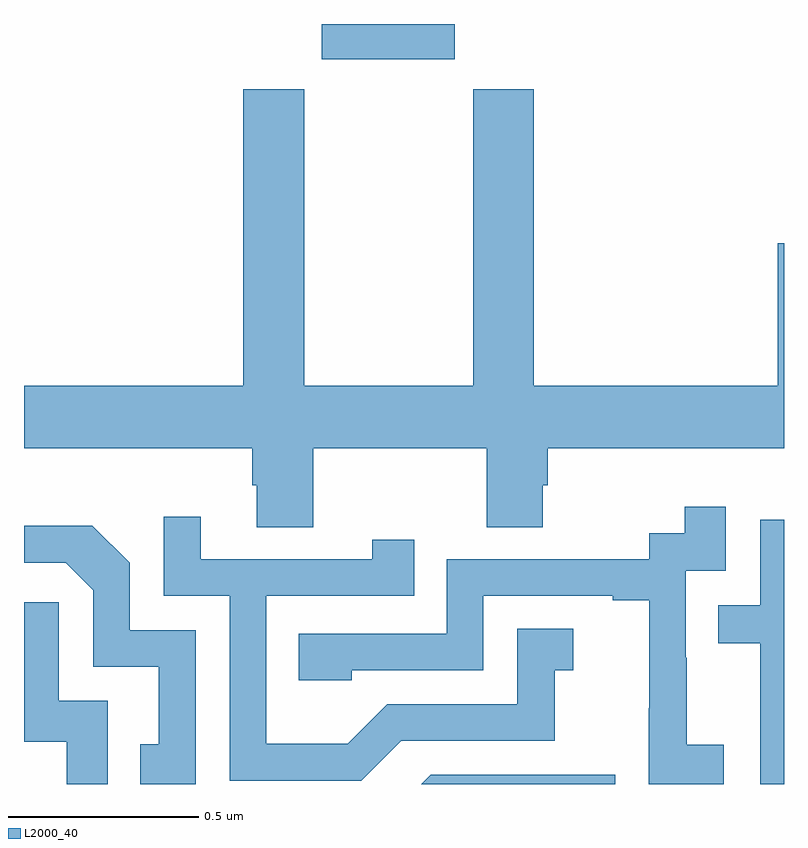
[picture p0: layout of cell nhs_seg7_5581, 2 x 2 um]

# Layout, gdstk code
import gdstk
lib = gdstk.Library(unit=1e-6, precision=1e-09)
def R(c, l, rs):  # rectangles x0, y0, x1, y1
    for r in rs: c.add(gdstk.rectangle(r[:2], r[2:], *l))
def P(c, l, *ps):  # polygons
    for p in ps: c.add(gdstk.Polygon(p, *l))
L2000_40 = (2000, 40)

nhs_seg7_5581 = lib.new_cell('nhs_seg7_5581')
R(nhs_seg7_5581, L2000_40, [(187.784,1066.907,188.134,1067)])
P(nhs_seg7_5581, L2000_40, [(187.761,1065.884),(188.218,1065.884),(188.218,1065.676),(188.365,1065.676),(188.365,1065.786),(188.378,1065.786),(188.378,1065.884),(189,1065.884),(189,1066.423),(188.984,1066.423),(188.984,1066.048),(188.342,1066.048),(188.342,1066.828),(188.182,1066.828),(188.182,1066.048),(187.737,1066.048),(187.737,1066.828),(187.577,1066.828),(187.577,1066.048),(187,1066.048),(187,1065.884),(187.601,1065.884),(187.601,1065.786),(187.613,1065.786),(187.613,1065.676),(187.761,1065.676)],
  [(188.842,1065.103),(188.744,1065.103),(188.744,1065.332),(188.742,1065.332),(188.742,1065.561),(188.847,1065.561),(188.847,1065.73),(188.739,1065.73),(188.739,1065.66),(188.646,1065.66),(188.646,1065.591),(188.112,1065.591),(188.112,1065.396),(187.723,1065.396),(187.723,1065.273),(187.863,1065.273),(187.863,1065.3),(188.208,1065.3),(188.208,1065.495),(188.549,1065.495),(188.549,1065.483),(188.645,1065.483),(188.645,1065.199),(188.644,1065.199),(188.644,1065),(188.842,1065)],
  [(187.993,1065.114),(188.397,1065.114),(188.397,1065.299),(188.446,1065.299),(188.446,1065.409),(188.298,1065.409),(188.298,1065.21),(187.956,1065.21),(187.852,1065.106),(187.638,1065.106),(187.638,1065.495),(188.027,1065.495),(188.027,1065.643),(187.916,1065.643),(187.916,1065.591),(187.465,1065.591),(187.465,1065.703),(187.368,1065.703),(187.368,1065.495),(187.542,1065.495),(187.542,1065.009),(187.888,1065.009)],
  [(189,1065.696),(188.937,1065.696),(188.937,1065.471),(188.827,1065.471),(188.827,1065.37),(188.937,1065.37),(188.937,1065),(189,1065)],
  [(187.452,1065.405),(187.278,1065.405),(187.278,1065.582),(187.18,1065.68),(187,1065.68),(187,1065.582),(187.11,1065.582),(187.182,1065.51),(187.182,1065.309),(187.355,1065.309),(187.355,1065.105),(187.306,1065.105),(187.306,1065),(187.452,1065)],
  [(187.221,1065.219),(187.092,1065.219),(187.092,1065.478),(187,1065.478),(187,1065.111),(187.113,1065.111),(187.113,1065),(187.221,1065)],
  [(188.556,1065.024),(188.07,1065.024),(188.046,1065),(188.556,1065)])

lib.write_gds('nhs_seg7_5581.gds')
